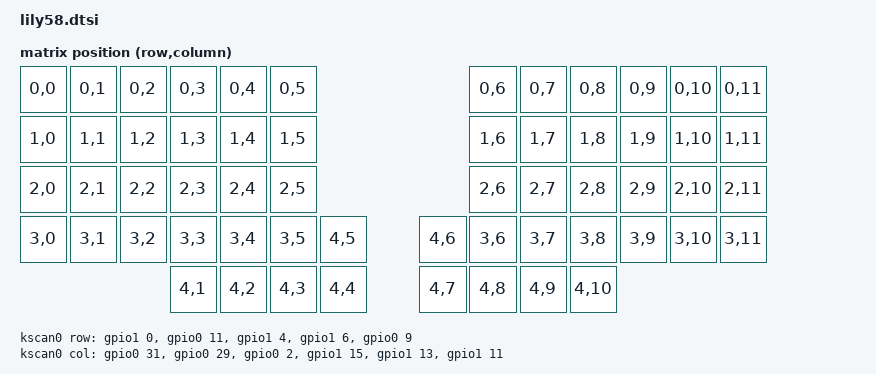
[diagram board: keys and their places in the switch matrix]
/*
 * Lily58 hand-wired matrix for SuperMini NRF52840 (v1940)
 * Diode direction: col2row (Cathode/Black line toward the Row)
 */

/ {
    chosen {
        zmk,kscan = &kscan0;
        zmk,matrix_transform = &default_transform;
    };

default_transform: keymap_transform_0 {
    compatible = "zmk,matrix-transform";
    columns = <12>;
    rows = <5>;

    map = <
RC(0,0) RC(0,1) RC(0,2) RC(0,3) RC(0,4) RC(0,5)                         RC(0,6) RC(0,7) RC(0,8) RC(0,9) RC(0,10) RC(0,11)
RC(1,0) RC(1,1) RC(1,2) RC(1,3) RC(1,4) RC(1,5)                         RC(1,6) RC(1,7) RC(1,8) RC(1,9) RC(1,10) RC(1,11)
RC(2,0) RC(2,1) RC(2,2) RC(2,3) RC(2,4) RC(2,5)                         RC(2,6) RC(2,7) RC(2,8) RC(2,9) RC(2,10) RC(2,11)
RC(3,0) RC(3,1) RC(3,2) RC(3,3) RC(3,4) RC(3,5) RC(4,5)         RC(4,6) RC(3,6) RC(3,7) RC(3,8) RC(3,9) RC(3,10) RC(3,11)
                        RC(4,1) RC(4,2) RC(4,3) RC(4,4)         RC(4,7) RC(4,8) RC(4,9) RC(4,10)
    >;
};

    kscan0: kscan {
        compatible = "zmk,kscan-gpio-matrix";
        diode-direction = "col2row";

        /* Row GPIOs - Mapped to labels: 100, 011, 104, 106, 009 */
        row-gpios
            = <&gpio1 0  (GPIO_ACTIVE_HIGH | GPIO_PULL_DOWN)>   /* Row 0 - Label 100 */
            , <&gpio0 11 (GPIO_ACTIVE_HIGH | GPIO_PULL_DOWN)>   /* Row 1 - Label 011 */
            , <&gpio1 4  (GPIO_ACTIVE_HIGH | GPIO_PULL_DOWN)>   /* Row 2 - Label 104 */
            , <&gpio1 6  (GPIO_ACTIVE_HIGH | GPIO_PULL_DOWN)>   /* Row 3 - Label 106 */
            , <&gpio0 9  (GPIO_ACTIVE_HIGH | GPIO_PULL_DOWN)>   /* Row 4 - Label 009 */
            ;

        /* Column GPIOs - Mapped to labels: 031, 029, 002, 115, 113, 111 */
        col-gpios
            = <&gpio0 31 GPIO_ACTIVE_HIGH>   /* Col 0 - Label 031 */
            , <&gpio0 29 GPIO_ACTIVE_HIGH>   /* Col 1 - Label 029 */
            , <&gpio0 2  GPIO_ACTIVE_HIGH>   /* Col 2 - Label 002 */
            , <&gpio1 15 GPIO_ACTIVE_HIGH>   /* Col 3 - Label 115 */
            , <&gpio1 13 GPIO_ACTIVE_HIGH>   /* Col 4 - Label 113 */
            , <&gpio1 11 GPIO_ACTIVE_HIGH>   /* Col 5 - Label 111 */
            ;
    };
};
